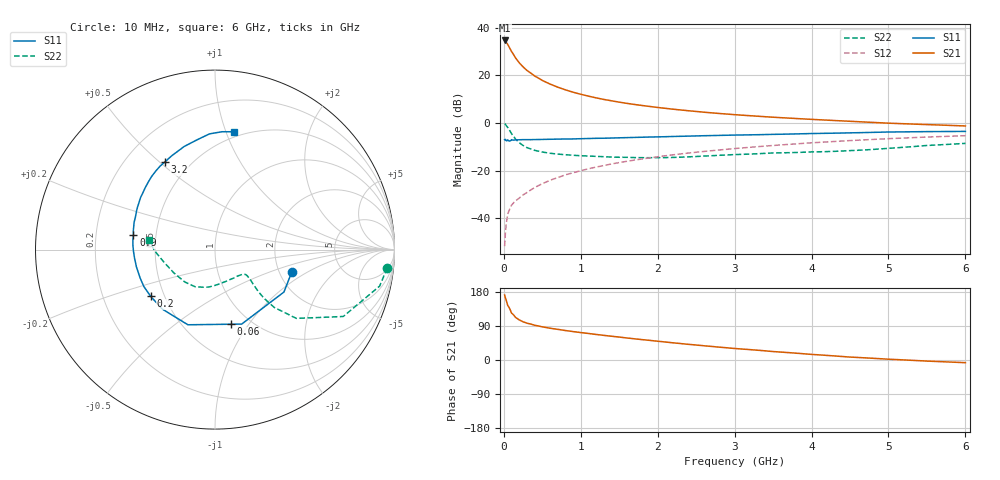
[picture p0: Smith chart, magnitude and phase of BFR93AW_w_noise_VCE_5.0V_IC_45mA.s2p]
! (c) 2017  Infineon Technologies AG, Munich
! Infineon Technologies  Discrete & RF Semiconductors
! BFR93AW
! VCE =  5.0 V,  IC =  45 mA
! Common Emitter S-Parameters:  Jan 2017
# GHz  S  MA  R  50
!  f  S11  S21  S12  S22
! GHz  MAG  ANG  MAG  ANG  MAG  ANG  MAG  ANG
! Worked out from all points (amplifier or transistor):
!   77 points, 10 MHz to 6 GHz, reference 50 ohm
!   highest |S21| = 34.6 dB at 10 MHz (marker M1)
!   |S21| within 3 dB of that: start of sweep to 72.89 MHz
!   unconditionally stable (mu >= 1): 491.9 MHz to 2.032 GHz
!   at 130 MHz: K = 0.59, MSG = 30.9 dB, |S12| = -33.4 dB
!   at 2.2 GHz: K = 0.99, MSG = 9.6 dB, |S12| = -13.4 dB
!   at 6 GHz: K = 0.89, MSG = 2.0 dB, |S12| = -5.4 dB
!   lowest NFmin = 2.16 dB at 450 MHz
!   S11 on the Smith chart (normalised r, x): 10 MHz: 2.35, -0.72; 60 MHz: 0.82, -0.83; 200 MHz: 0.42, -0.27; 900 MHz: 0.37, +0.08; 3.2 GHz: 0.36, +0.52; 6 GHz: 0.45, +1.07
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0.01  0.4459 -15.9  53.73 171.6  0.0026 81.8  0.965 -6.1
0.02  0.4511 -31.6  53 164.0  0.0048 74.8  0.9395 -12.5
0.05  0.4408 -70.3  44.52 144.2  0.012 68.2  0.8063 -27.5
0.06  0.4251 -78.0  41.6 141.2  0.0134 66.6  0.7613 -29.5
0.1  0.4452 -109.8  31.6 123.9  0.0189 62.5  0.5937 -40.2
0.15  0.4426 -131.4  23.39 112.8  0.023 60.9  0.4615 -44.3
0.2  0.4432 -144.0  18.32 105.8  0.0265 62.3  0.385 -44.8
0.25  0.4466 -152.6  15 100.8  0.0309 63.9  0.3371 -44.1
0.3  0.4461 -159.2  12.64 97.2  0.0347 65.7  0.3037 -42.9
0.4  0.4482 -167.7  9.669 91.7  0.044 68.2  0.2663 -40.9
0.5  0.4509 -174.1  7.789 87.5  0.0531 70.3  0.2452 -39.7
0.6  0.4544 -179.0  6.544 83.9  0.0627 70.7  0.2312 -39.1
0.7  0.4578 177.1  5.633 80.9  0.0714 71.8  0.2221 -39.0
0.9  0.4615 170.0  4.408 75.0  0.0903 71.4  0.2098 -40.8
1.1  0.4711 163.9  3.65 70.0  0.1093 71.1  0.2023 -43.9
1.5  0.4874 153.8  2.728 60.5  0.1472 69.0  0.1905 -53.4
2.1  0.5144 140.5  2.025 47.5  0.2048 64.4  0.1876 -73.8
3.1  0.5594 121.6  1.454 28.9  0.2992 55.0  0.2194 -107.2
3.2  0.5627 119.9  1.418 27.4  0.3084 54.0  0.2224 -110.1
4.1  0.6027 105.2  1.166 13.5  0.3913 44.7  0.2482 -136.6
5.1  0.6474 91.4  0.975 1.2  0.4753 33.6  0.3006 -169.1
6  0.665 80.9  0.865 -7.1  0.5397 23.5  0.3725 171.6
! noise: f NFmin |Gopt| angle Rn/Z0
0.45  2.16  0.24  -179  0.17
0.9  2.46  0.3  -169  0.17
1.9  3.55  0.53  -132  0.39
2.4  4.27  0.57  -122  0.72
